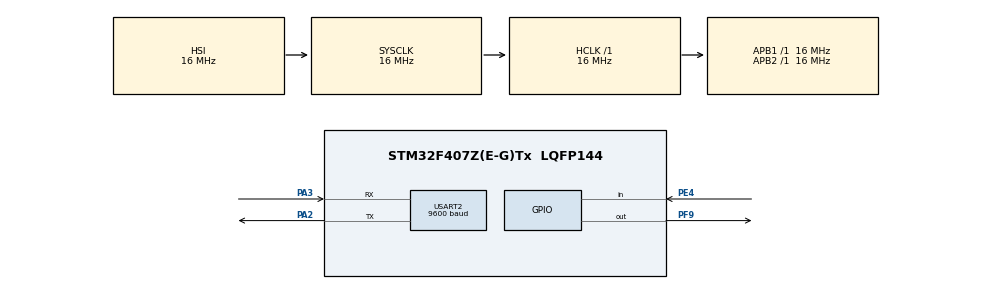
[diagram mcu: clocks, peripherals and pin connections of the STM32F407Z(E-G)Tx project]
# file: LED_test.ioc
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Mcu.Family=STM32F4
Mcu.Name=STM32F407Z(E-G)Tx
Mcu.Package=LQFP144
NVIC.PriorityGroup=NVIC_PRIORITYGROUP_4
PA13.Mode=Serial_Wire
PA13.Signal=SYS_JTMS-SWDIO
PA14.Mode=Serial_Wire
PA14.Signal=SYS_JTCK-SWCLK
PA2.Mode=Asynchronous
PA2.Signal=USART2_TX
PA3.Mode=Asynchronous
PA3.Signal=USART2_RX
PE4.GPIO_PuPd=GPIO_PULLDOWN
PE4.Signal=GPIO_Input
PF9.Signal=GPIO_Output
ProjectManager.HeapSize=0x200
ProjectManager.StackSize=0x400
ProjectManager.TargetToolchain=MDK-ARM V5.32
RCC.AHBFreq_Value=16000000
RCC.APB1Freq_Value=16000000
RCC.APB2Freq_Value=16000000
RCC.CortexFreq_Value=16000000
RCC.HSE_VALUE=25000000
RCC.HSI_VALUE=16000000
RCC.LSE_VALUE=32768
RCC.SYSCLKFreq_VALUE=16000000
RCC.VCOOutputFreq_Value=192000000
USART2.BaudRate=9600
USART2.VirtualMode=VM_ASYNC
board=custom

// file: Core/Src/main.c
/* USER CODE BEGIN Header */
/**
  ******************************************************************************
  * @file           : main.c
  * @brief          : Main program body
  ******************************************************************************
  * @attention
  *
  * Copyright (c) 2026 STMicroelectronics.
  * All rights reserved.
  *
  * This software is licensed under terms that can be found in the LICENSE file
  * in the root directory of this software component.
  * If no LICENSE file comes with this software, it is provided AS-IS.
  *
  ******************************************************************************
  */
/* USER CODE END Header */
#include "main.h"

UART_HandleTypeDef huart2;

void SystemClock_Config(void);
static void MX_GPIO_Init(void);
static void MX_USART2_UART_Init(void);

int main(void)
{

  /* MCU Configuration--------------------------------------------------------*/

  /* Reset of all peripherals, Initializes the Flash interface and the Systick. */
  HAL_Init();

  /* Configure the system clock */
  SystemClock_Config();

  /* Initialize all configured peripherals */
  MX_GPIO_Init();
  MX_USART2_UART_Init();
  /* USER CODE BEGIN 2 */
	uint8_t status_msg[] = "System running\r\n";
	uint8_t key_msg[] = "KEY0 pressed\r\n";

	uint32_t last_status_time = HAL_GetTick();
	uint32_t key_change_time = HAL_GetTick();

	GPIO_PinState key_last_raw = GPIO_PIN_RESET;
	GPIO_PinState key_stable = GPIO_PIN_RESET;
  /* USER CODE END 2 */

  /* Infinite loop */
  while (1)
  {

    /* USER CODE BEGIN 3 */
		  uint32_t now = HAL_GetTick();
  GPIO_PinState key_raw = HAL_GPIO_ReadPin(GPIOE, GPIO_PIN_4);

  if (key_raw != key_last_raw)
  {
    key_last_raw = key_raw;
    key_change_time = now;
  }

  if ((now - key_change_time >= 20U) &&
      (key_raw != key_stable))
  {
    key_stable = key_raw;

    if (key_stable == GPIO_PIN_SET)
    {
      HAL_GPIO_TogglePin(GPIOF, GPIO_PIN_9);
      HAL_UART_Transmit(&huart2,
                        key_msg,
                        sizeof(key_msg) - 1,
                        100);
    }
  }

  if (now - last_status_time >= 1000U)
  {
    last_status_time = now;
    HAL_UART_Transmit(&huart2,
                      status_msg,
                      sizeof(status_msg) - 1,
                      100);
  }
  }
  /* USER CODE END 3 */
}

void SystemClock_Config(void)
{
  RCC_OscInitTypeDef RCC_OscInitStruct = {0};
  RCC_ClkInitTypeDef RCC_ClkInitStruct = {0};

  /** Configure the main internal regulator output voltage
  */
  __HAL_RCC_PWR_CLK_ENABLE();
  __HAL_PWR_VOLTAGESCALING_CONFIG(PWR_REGULATOR_VOLTAGE_SCALE1);

  /** Initializes the RCC Oscillators according to the specified parameters
  * in the RCC_OscInitTypeDef structure.
  */
  RCC_OscInitStruct.OscillatorType = RCC_OSCILLATORTYPE_HSI;
  RCC_OscInitStruct.HSIState = RCC_HSI_ON;
  RCC_OscInitStruct.HSICalibrationValue = RCC_HSICALIBRATION_DEFAULT;
  RCC_OscInitStruct.PLL.PLLState = RCC_PLL_NONE;
  if (HAL_RCC_OscConfig(&RCC_OscInitStruct) != HAL_OK)
  {
    Error_Handler();
  }

  /** Initializes the CPU, AHB and APB buses clocks
  */
  RCC_ClkInitStruct.ClockType = RCC_CLOCKTYPE_HCLK|RCC_CLOCKTYPE_SYSCLK
                              |RCC_CLOCKTYPE_PCLK1|RCC_CLOCKTYPE_PCLK2;
  RCC_ClkInitStruct.SYSCLKSource = RCC_SYSCLKSOURCE_HSI;
  RCC_ClkInitStruct.AHBCLKDivider = RCC_SYSCLK_DIV1;
  RCC_ClkInitStruct.APB1CLKDivider = RCC_HCLK_DIV1;
  RCC_ClkInitStruct.APB2CLKDivider = RCC_HCLK_DIV1;

  if (HAL_RCC_ClockConfig(&RCC_ClkInitStruct, FLASH_LATENCY_0) != HAL_OK)
  {
    Error_Handler();
  }
}

static void MX_USART2_UART_Init(void)
{

  huart2.Instance = USART2;
  huart2.Init.BaudRate = 9600;
  huart2.Init.WordLength = UART_WORDLENGTH_8B;
  huart2.Init.StopBits = UART_STOPBITS_1;
  huart2.Init.Parity = UART_PARITY_NONE;
  huart2.Init.Mode = UART_MODE_TX_RX;
  huart2.Init.HwFlowCtl = UART_HWCONTROL_NONE;
  huart2.Init.OverSampling = UART_OVERSAMPLING_16;
  if (HAL_UART_Init(&huart2) != HAL_OK)
  {
    Error_Handler();
  }

}

static void MX_GPIO_Init(void)
{
  GPIO_InitTypeDef GPIO_InitStruct = {0};

  /* GPIO Ports Clock Enable */
  __HAL_RCC_GPIOE_CLK_ENABLE();
  __HAL_RCC_GPIOF_CLK_ENABLE();
  __HAL_RCC_GPIOA_CLK_ENABLE();

  /*Configure GPIO pin Output Level */
  HAL_GPIO_WritePin(GPIOF, GPIO_PIN_9, GPIO_PIN_RESET);

  /*Configure GPIO pin : PE4 */
  GPIO_InitStruct.Pin = GPIO_PIN_4;
  GPIO_InitStruct.Mode = GPIO_MODE_INPUT;
  GPIO_InitStruct.Pull = GPIO_PULLDOWN;
  HAL_GPIO_Init(GPIOE, &GPIO_InitStruct);

  /*Configure GPIO pin : PF9 */
  GPIO_InitStruct.Pin = GPIO_PIN_9;
  GPIO_InitStruct.Mode = GPIO_MODE_OUTPUT_PP;
  GPIO_InitStruct.Pull = GPIO_NOPULL;
  GPIO_InitStruct.Speed = GPIO_SPEED_FREQ_LOW;
  HAL_GPIO_Init(GPIOF, &GPIO_InitStruct);

}

void Error_Handler(void)
{
  __disable_irq();
  while (1)
  {
  }
}
